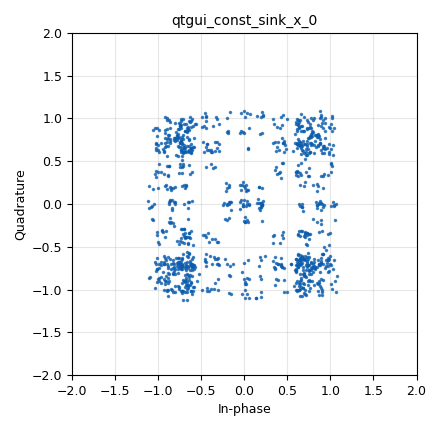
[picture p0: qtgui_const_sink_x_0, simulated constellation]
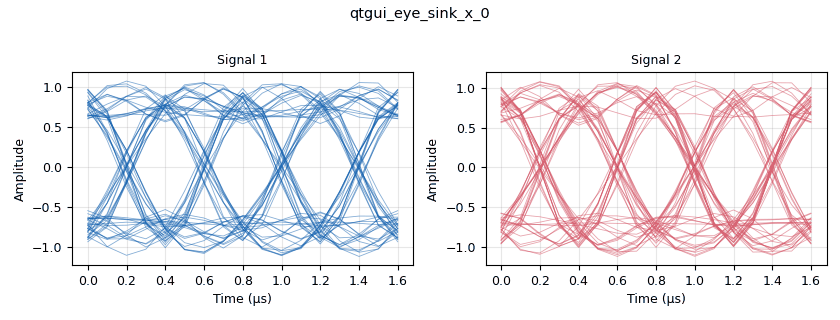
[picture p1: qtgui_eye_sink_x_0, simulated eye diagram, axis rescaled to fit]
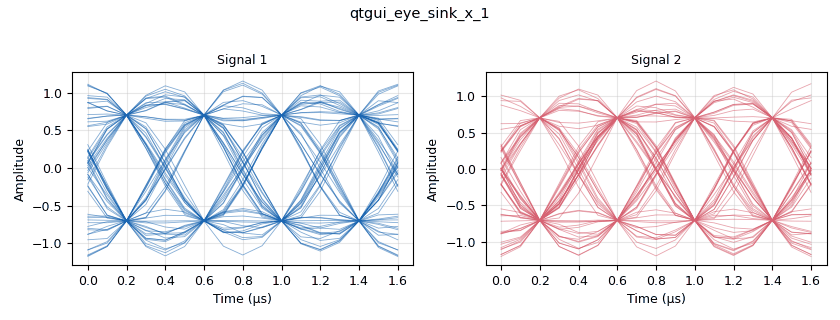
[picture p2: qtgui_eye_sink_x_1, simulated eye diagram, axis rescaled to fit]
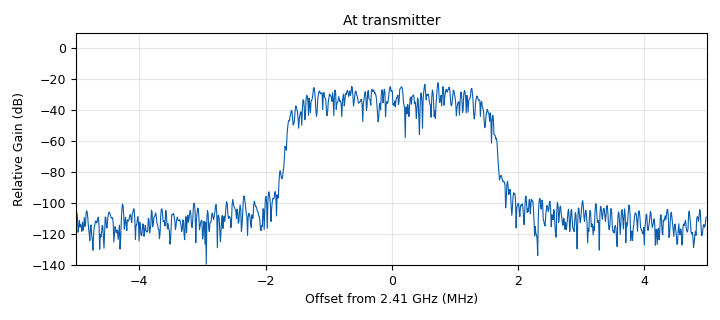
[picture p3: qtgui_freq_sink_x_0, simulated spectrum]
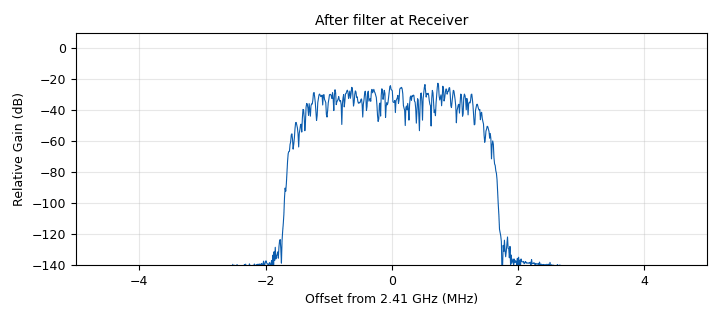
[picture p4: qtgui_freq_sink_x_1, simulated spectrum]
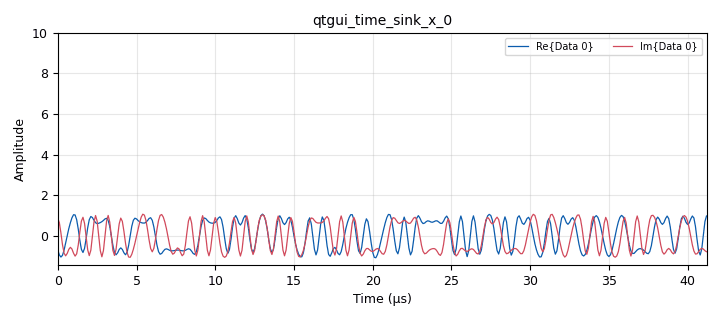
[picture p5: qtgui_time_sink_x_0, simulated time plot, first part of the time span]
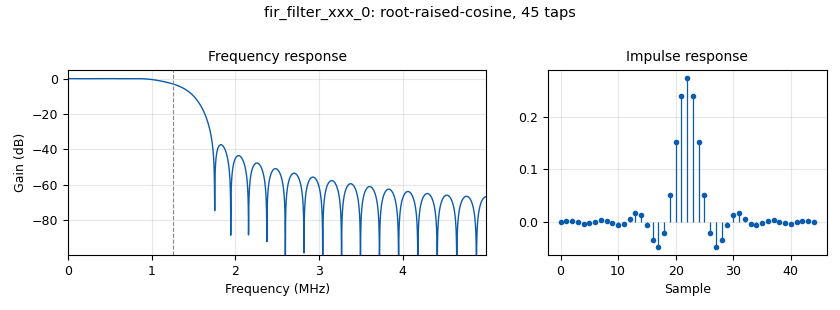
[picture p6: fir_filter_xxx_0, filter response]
options:
  parameters:
    generate_options: qt_gui
    id: Signal_source
    output_language: python
    title: Not titled yet
  states: {}

blocks:
- name: QAM
  id: variable_constellation_rect
  parameters:
    const_points: '[-1-1j, -1+1j, 1+1j, 1-1j]'
    imag_sect: '2'
    real_sect: '2'
    rot_sym: '4'
    sym_map: '[0, 1, 3, 2]'
    w_imag_sect: '1'
    w_real_sect: '1'
  states: {}
- name: ant_gain
  id: variable_qtgui_range
  parameters:
    start: '0'
    step: '1'
    stop: '10'
    value: '0'
  states: {}
- name: exc_bw
  id: variable
  parameters:
    value: '0.35'
  states: {}
- name: freq
  id: variable_qtgui_range
  parameters:
    start: 2.4e9
    step: 0.01e9
    stop: 2.5e9
    value: 2.41e9
  states: {}
- name: rrc_taps
  id: variable
  parameters:
    value: firdes.root_raised_cosine(1.0,samp_rate,samp_rate/sps,exc_bw,11*sps)
  states: {}
- name: samp_rate
  id: variable
  parameters:
    value: 10e6
  states: {}
- name: sig_amp
  id: variable_qtgui_range
  parameters:
    start: '0'
    step: '1'
    stop: '10'
    value: '1'
  states: {}
- name: sps
  id: variable
  parameters:
    value: '4'
  states: {}
- name: analog_random_source_x_0
  id: analog_random_source_x
  parameters:
    max: '4'
    min: '0'
    num_samps: '1000'
    repeat: 'True'
    type: int
  states: {state: disabled}
- name: analog_random_source_x_1
  id: analog_random_source_x
  parameters:
    max: '4'
    min: '0'
    num_samps: '1000'
    repeat: 'True'
    type: int
  states: {state: disabled}
- name: analog_random_source_x_2
  id: analog_random_source_x
  parameters:
    max: '256'
    min: '0'
    num_samps: '1000'
    repeat: 'True'
    type: byte
  states: {}
- name: analog_sig_source_x_0
  id: analog_sig_source_x
  parameters:
    amp: sig_amp
    freq: freq
    offset: '0'
    phase: '0'
    samp_rate: samp_rate
    type: complex
    waveform: analog.GR_COS_WAVE
  states: {state: disabled}
- name: blocks_add_const_vxx_0
  id: blocks_add_const_vxx
  parameters:
    const: '-0.5-0.5j'
    type: complex
  states: {state: disabled}
- name: blocks_float_to_complex_0
  id: blocks_float_to_complex
  parameters: {}
  states: {state: disabled}
- name: blocks_int_to_float_0
  id: blocks_int_to_float
  parameters:
    scale: '3'
  states: {state: disabled}
- name: blocks_int_to_float_1
  id: blocks_int_to_float
  parameters:
    scale: '3'
  states: {state: disabled}
- name: blocks_throttle2_0
  id: blocks_throttle2
  parameters:
    samples_per_second: samp_rate
    type: byte
  states: {}
- name: digital_constellation_modulator_0
  id: digital_constellation_modulator
  parameters:
    constellation: QAM
    differential: 'True'
    excess_bw: exc_bw
    samples_per_symbol: sps
  states: {}
- name: fir_filter_xxx_0
  id: fir_filter_xxx
  parameters:
    decim: '1'
    taps: rrc_taps
    type: ccc
  states: {}
- name: qtgui_const_sink_x_0
  id: qtgui_const_sink_x
  parameters:
    size: '1024'
    style1: '1'
    type: complex
  states: {}
- name: qtgui_eye_sink_x_0
  id: qtgui_eye_sink_x
  parameters:
    entags: 'False'
    samp_per_symbol: '8'
    size: '1024'
    srate: samp_rate
    type: complex
  states: {}
- name: qtgui_eye_sink_x_1
  id: qtgui_eye_sink_x
  parameters:
    color1: red
    color2: red
    marker1: '2'
    samp_per_symbol: '8'
    size: '1024'
    srate: samp_rate
    type: complex
  states: {}
- name: qtgui_freq_sink_x_0
  id: qtgui_freq_sink_x
  parameters:
    bw: samp_rate
    fc: freq
    fftsize: '1024'
    name: '"At transmitter"'
    type: complex
  states: {}
- name: qtgui_freq_sink_x_1
  id: qtgui_freq_sink_x
  parameters:
    bw: samp_rate
    fc: 2.41e9
    fftsize: '1024'
    name: '"After filter at Receiver"'
    type: complex
  states: {}
- name: qtgui_time_sink_x_0
  id: qtgui_time_sink_x
  parameters:
    size: '1000000'
    srate: samp_rate
    type: complex
    ymax: '10'
  states: {}
- name: uhd_usrp_sink_0
  id: uhd_usrp_sink
  parameters:
    ant0: '"TX/RX"'
    center_freq0: freq
    gain0: ant_gain
    samp_rate: samp_rate
    sync: none
    type: fc32
  states: {}

connections:
- [analog_random_source_x_0, '0', blocks_int_to_float_0, '0']
- [analog_random_source_x_1, '0', blocks_int_to_float_1, '0']
- [analog_random_source_x_2, '0', blocks_throttle2_0, '0']
- [analog_sig_source_x_0, '0', qtgui_const_sink_x_0, '0']
- [analog_sig_source_x_0, '0', qtgui_freq_sink_x_0, '0']
- [analog_sig_source_x_0, '0', qtgui_time_sink_x_0, '0']
- [analog_sig_source_x_0, '0', uhd_usrp_sink_0, '0']
- [blocks_add_const_vxx_0, '0', qtgui_const_sink_x_0, '0']
- [blocks_add_const_vxx_0, '0', qtgui_freq_sink_x_0, '0']
- [blocks_add_const_vxx_0, '0', qtgui_time_sink_x_0, '0']
- [blocks_add_const_vxx_0, '0', uhd_usrp_sink_0, '0']
- [blocks_float_to_complex_0, '0', blocks_add_const_vxx_0, '0']
- [blocks_int_to_float_0, '0', blocks_float_to_complex_0, '0']
- [blocks_int_to_float_1, '0', blocks_float_to_complex_0, '1']
- [blocks_throttle2_0, '0', digital_constellation_modulator_0, '0']
- [digital_constellation_modulator_0, '0', fir_filter_xxx_0, '0']
- [digital_constellation_modulator_0, '0', qtgui_const_sink_x_0, '0']
- [digital_constellation_modulator_0, '0', qtgui_eye_sink_x_0, '0']
- [digital_constellation_modulator_0, '0', qtgui_freq_sink_x_0, '0']
- [digital_constellation_modulator_0, '0', qtgui_time_sink_x_0, '0']
- [digital_constellation_modulator_0, '0', uhd_usrp_sink_0, '0']
- [fir_filter_xxx_0, '0', qtgui_eye_sink_x_1, '0']
- [fir_filter_xxx_0, '0', qtgui_freq_sink_x_1, '0']

metadata:
  file_format: 1
  grc_version: 3.10.12.0
